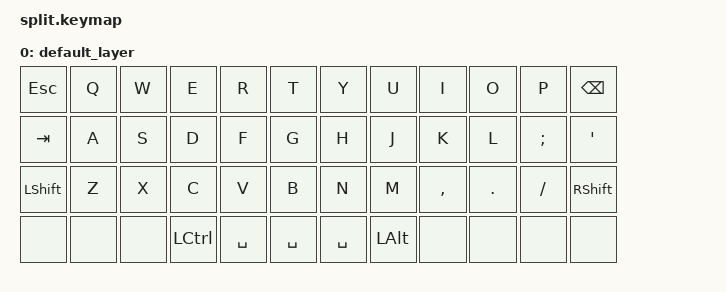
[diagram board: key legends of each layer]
#include <dt-bindings/zmk/keys.h>

/ {
    keymap {
        compatible = "zmk,keymap";

// ----------------------------------------------------------------------------------------------------
//           |  esc     |   Q     |   W     |   E     |   R     |   T   |          |   Y      |   U    |   I      |   O    |   P      |   bs   | 
//           |  tab     |   A     |   S     |   D     |   F     |   G   |          |   H      |   J    |   K      |   L    |   ;      |   '    |
//           | LSHIFT   |   Z     |   X     |   C     |   V     |   B   |          |   N      |   M    |   ,      |   .    |   /      | RSHIFT |
//           |          |         |         | ctrl    | space   |  sym  |          |  num     |  alt   |          |        |          |        |

        default_layer {
            bindings = <
                &kp ESC    &kp Q     &kp W    &kp E     &kp R     &kp T             &kp Y      &kp U    &kp I     &kp O     &kp P     &kp BSPC
                &kp TAB    &kp A     &kp S    &kp D     &kp F     &kp G             &kp H      &kp J    &kp K     &kp L     &kp SEMI  &kp APOS
                &kp LSHFT  &kp Z     &kp X    &kp C     &kp V     &kp B             &kp N      &kp M    &kp COMMA &kp DOT   &kp SLASH &kp RSHFT
                &none      &none     &none    &kp LCTRL &kp SPACE &kp SPACE         &kp SPACE  &kp LALT &none     &none     &none     &none
            >;
        };
    };
};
